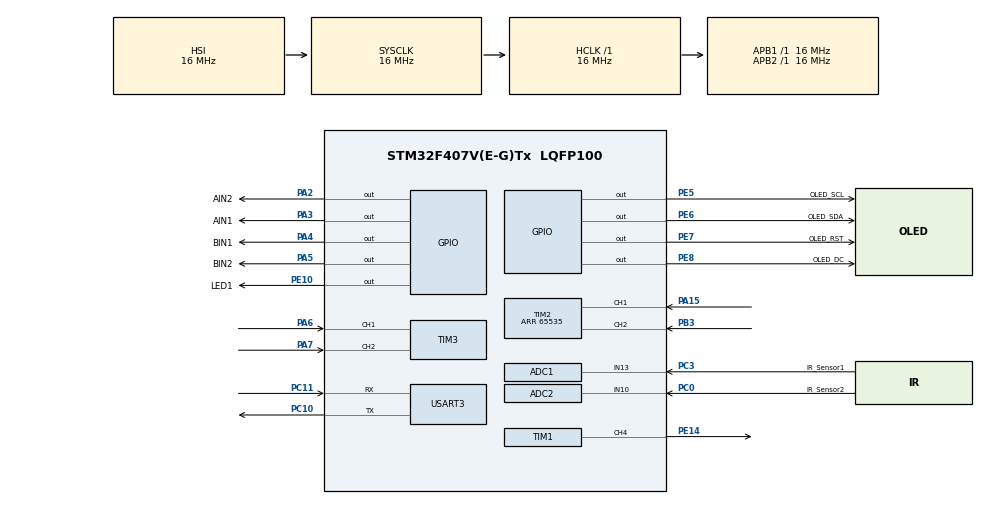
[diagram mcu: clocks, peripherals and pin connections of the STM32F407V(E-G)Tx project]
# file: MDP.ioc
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ADC1.Channel-0\#ChannelRegularConversion=ADC_CHANNEL_13
ADC1.NbrOfConversionFlag=1
ADC1.Rank-0\#ChannelRegularConversion=1
ADC1.SamplingTime-0\#ChannelRegularConversion=ADC_SAMPLETIME_480CYCLES
ADC1.master=1
ADC2.Channel-0\#ChannelRegularConversion=ADC_CHANNEL_10
ADC2.NbrOfConversionFlag=1
ADC2.Rank-0\#ChannelRegularConversion=1
ADC2.SamplingTime-0\#ChannelRegularConversion=ADC_SAMPLETIME_3CYCLES
FREERTOS.Tasks01=defaultTask,24,128,StartDefaultTask,Default,NULL,Dynamic,NULL,NULL;Motor,9,128,motor,Default,NULL,Dynamic,NULL,NULL;showTask,8,128,showtask,Default,NULL,Dynamic,NULL,NULL;encoder,9,128,encoder_1,Default,NULL,Dynamic,NULL,NULL;IR_sensor,24,128,ir_sensor,Default,NULL,Dynamic,NULL,NULL
Mcu.Family=STM32F4
Mcu.Name=STM32F407V(E-G)Tx
Mcu.Package=LQFP100
NVIC.PriorityGroup=NVIC_PRIORITYGROUP_4
NVIC.USART3_IRQn=true\:5\:0\:false\:false\:true\:true\:true\:true
PA15.Signal=S_TIM2_CH1_ETR
PA2.GPIO_Label=AIN2
PA2.Signal=GPIO_Output
PA3.GPIO_Label=AIN1
PA3.Signal=GPIO_Output
PA4.GPIO_Label=BIN1
PA4.Signal=GPIO_Output
PA5.GPIO_Label=BIN2
PA5.Signal=GPIO_Output
PA6.Signal=S_TIM3_CH1
PA7.Signal=S_TIM3_CH2
PB3.Signal=S_TIM2_CH2
PC0.GPIO_Label=IR_Sensor2
PC0.Signal=ADCx_IN10
PC10.Mode=Asynchronous
PC10.Signal=USART3_TX
PC11.Mode=Asynchronous
PC11.Signal=USART3_RX
PC3.GPIO_Label=IR_Sensor1
PC3.Signal=ADCx_IN13
PC6.Signal=S_TIM8_CH1
PC7.Signal=S_TIM8_CH2
PE10.GPIO_Label=LED1
PE10.Signal=GPIO_Output
PE14.Signal=S_TIM1_CH4
PE5.GPIO_Label=OLED_SCL
PE5.Signal=GPIO_Output
PE6.GPIO_Label=OLED_SDA
PE6.Signal=GPIO_Output
PE7.GPIO_Label=OLED_RST
PE7.Signal=GPIO_Output
PE8.GPIO_Label=OLED_DC
PE8.Signal=GPIO_Output
ProjectManager.HeapSize=0x200
ProjectManager.StackSize=0x400
ProjectManager.TargetToolchain=STM32CubeIDE
RCC.AHBFreq_Value=16000000
RCC.APB1Freq_Value=16000000
RCC.APB2Freq_Value=16000000
RCC.CortexFreq_Value=16000000
RCC.HSE_VALUE=25000000
RCC.HSI_VALUE=16000000
RCC.LSE_VALUE=32768
RCC.SYSCLKFreq_VALUE=16000000
RCC.VCOOutputFreq_Value=192000000
SH.ADCx_IN10.0=ADC2_IN10,IN10
SH.ADCx_IN13.0=ADC1_IN13,IN13
SH.S_TIM1_CH4.0=TIM1_CH4,PWM Generation4 CH4
SH.S_TIM2_CH1_ETR.0=TIM2_CH1,Encoder_Interface
SH.S_TIM2_CH2.0=TIM2_CH2,Encoder_Interface
SH.S_TIM3_CH1.0=TIM3_CH1,Encoder_Interface
SH.S_TIM3_CH2.0=TIM3_CH2,Encoder_Interface
SH.S_TIM8_CH1.0=TIM8_CH1
SH.S_TIM8_CH2.0=TIM8_CH2
TIM1.AutoReloadPreload=TIM_AUTORELOAD_PRELOAD_ENABLE
TIM1.Channel-PWM\ Generation4\ CH4=TIM_CHANNEL_4
TIM1.Period=1000
TIM1.Prescaler=320
TIM2.EncoderMode=TIM_ENCODERMODE_TI12
TIM2.IC1Filter=10
TIM2.Period=65535
TIM3.EncoderMode=TIM_ENCODERMODE_TI12
TIM8.Channel-PWM\ Generation1\ No\ Output=TIM_CHANNEL_1
TIM8.Channel-PWM\ Generation2\ No\ Output=TIM_CHANNEL_2
TIM8.Period=6000
USART3.VirtualMode=VM_ASYNC
VP_FREERTOS_VS_CMSIS_V2.Mode=CMSIS_V2
VP_TIM1_VS_ClockSourceINT.Mode=Internal
VP_TIM8_VS_ClockSourceINT.Mode=Internal
VP_TIM8_VS_no_output1.Mode=PWM Generation1 No Output
VP_TIM8_VS_no_output2.Mode=PWM Generation2 No Output
board=custom

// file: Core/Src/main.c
/* USER CODE BEGIN Header */
/**
  ******************************************************************************
  * @file           : main.c
  * @brief          : Main program body
  ******************************************************************************
  * @attention
  *
  * Copyright (c) 2022 STMicroelectronics.
  * All rights reserved.
  *
  * This software is licensed under terms that can be found in the LICENSE file
  * in the root directory of this software component.
  * If no LICENSE file comes with this software, it is provided AS-IS.
  *
  ******************************************************************************
  */
/* USER CODE END Header */
#include "main.h"
#include "cmsis_os.h"

/* USER CODE BEGIN Includes */
#include "math.h"
/* USER CODE END Includes */

ADC_HandleTypeDef hadc1;
ADC_HandleTypeDef hadc2;

TIM_HandleTypeDef htim1;
TIM_HandleTypeDef htim2;
TIM_HandleTypeDef htim3;
TIM_HandleTypeDef htim8;

UART_HandleTypeDef huart3;

/* Definitions for defaultTask */
osThreadId_t defaultTaskHandle;
const osThreadAttr_t defaultTask_attributes = {
  .name = "defaultTask",
  .stack_size = 128 * 4,
  .priority = (osPriority_t) osPriorityNormal,
};
/* Definitions for Motor */
osThreadId_t MotorHandle;
const osThreadAttr_t Motor_attributes = {
  .name = "Motor",
  .stack_size = 128 * 4,
  .priority = (osPriority_t) osPriorityLow,
};
/* Definitions for showTask */
osThreadId_t showTaskHandle;
const osThreadAttr_t showTask_attributes = {
  .name = "showTask",
  .stack_size = 128 * 4,
  .priority = (osPriority_t) osPriorityLow,
};
/* Definitions for encoder */
osThreadId_t encoderHandle;
const osThreadAttr_t encoder_attributes = {
  .name = "encoder",
  .stack_size = 128 * 4,
  .priority = (osPriority_t) osPriorityLow,
};
/* Definitions for IR_sensor */
osThreadId_t IR_sensorHandle;
const osThreadAttr_t IR_sensor_attributes = {
  .name = "IR_sensor",
  .stack_size = 128 * 4,
  .priority = (osPriority_t) osPriorityNormal,
};

void SystemClock_Config(void);
static void MX_GPIO_Init(void);
static void MX_TIM8_Init(void);
static void MX_TIM1_Init(void);
static void MX_TIM2_Init(void);
static void MX_TIM3_Init(void);
static void MX_ADC1_Init(void);
static void MX_USART3_UART_Init(void);
static void MX_ADC2_Init(void);
void StartDefaultTask(void *argument);
void motor(void *argument);
void showtask(void *argument);
void encoder_1(void *argument);
void ir_sensor(void *argument);

/* USER CODE BEGIN 0 */
uint8_t aRxBuffer[1];
int pwm = 0;
double max_rpm = 0;
double distance = 0; // later need to change to double
uint8_t completed = 1;
/* USER CODE END 0 */

int main(void)
{

  /* MCU Configuration--------------------------------------------------------*/

  /* Reset of all peripherals, Initializes the Flash interface and the Systick. */
  HAL_Init();

  /* Configure the system clock */
  SystemClock_Config();

  /* Initialize all configured peripherals */
  MX_GPIO_Init();
  MX_TIM8_Init();
  MX_TIM1_Init();
  MX_TIM2_Init();
  MX_TIM3_Init();
  MX_ADC1_Init();
  MX_USART3_UART_Init();
  MX_ADC2_Init();
  /* USER CODE BEGIN 2 */
  OLED_Init();
  // initialise the pins needed

  HAL_UART_Receive_IT(&huart3,(uint8_t *)aRxBuffer,1);

  /* USER CODE END 2 */

  /* Init scheduler */
  osKernelInitialize();

  /* Create the thread(s) */
  /* creation of defaultTask */
  defaultTaskHandle = osThreadNew(StartDefaultTask, NULL, &defaultTask_attributes);

  /* creation of Motor */
  MotorHandle = osThreadNew(motor, NULL, &Motor_attributes);

  /* creation of showTask */
  showTaskHandle = osThreadNew(showtask, NULL, &showTask_attributes);

  /* creation of encoder */
  encoderHandle = osThreadNew(encoder_1, NULL, &encoder_attributes);

  /* creation of IR_sensor */
  IR_sensorHandle = osThreadNew(ir_sensor, NULL, &IR_sensor_attributes);

  /* Start scheduler */
  osKernelStart();

  /* We should never get here as control is now taken by the scheduler */
  /* Infinite loop */
  while (1)
  {

  }
}

void SystemClock_Config(void)
{
  RCC_OscInitTypeDef RCC_OscInitStruct = {0};
  RCC_ClkInitTypeDef RCC_ClkInitStruct = {0};

  /** Configure the main internal regulator output voltage
  */
  __HAL_RCC_PWR_CLK_ENABLE();
  __HAL_PWR_VOLTAGESCALING_CONFIG(PWR_REGULATOR_VOLTAGE_SCALE1);
  /** Initializes the RCC Oscillators according to the specified parameters
  * in the RCC_OscInitTypeDef structure.
  */
  RCC_OscInitStruct.OscillatorType = RCC_OSCILLATORTYPE_HSI;
  RCC_OscInitStruct.HSIState = RCC_HSI_ON;
  RCC_OscInitStruct.HSICalibrationValue = RCC_HSICALIBRATION_DEFAULT;
  RCC_OscInitStruct.PLL.PLLState = RCC_PLL_NONE;
  if (HAL_RCC_OscConfig(&RCC_OscInitStruct) != HAL_OK)
  {
    Error_Handler();
  }
  /** Initializes the CPU, AHB and APB buses clocks
  */
  RCC_ClkInitStruct.ClockType = RCC_CLOCKTYPE_HCLK|RCC_CLOCKTYPE_SYSCLK
                              |RCC_CLOCKTYPE_PCLK1|RCC_CLOCKTYPE_PCLK2;
  RCC_ClkInitStruct.SYSCLKSource = RCC_SYSCLKSOURCE_HSI;
  RCC_ClkInitStruct.AHBCLKDivider = RCC_SYSCLK_DIV1;
  RCC_ClkInitStruct.APB1CLKDivider = RCC_HCLK_DIV1;
  RCC_ClkInitStruct.APB2CLKDivider = RCC_HCLK_DIV1;

  if (HAL_RCC_ClockConfig(&RCC_ClkInitStruct, FLASH_LATENCY_0) != HAL_OK)
  {
    Error_Handler();
  }
}

static void MX_ADC1_Init(void)
{

  ADC_ChannelConfTypeDef sConfig = {0};

  /** Configure the global features of the ADC (Clock, Resolution, Data Alignment and number of conversion)
  */
  hadc1.Instance = ADC1;
  hadc1.Init.ClockPrescaler = ADC_CLOCK_SYNC_PCLK_DIV2;
  hadc1.Init.Resolution = ADC_RESOLUTION_12B;
  hadc1.Init.ScanConvMode = DISABLE;
  hadc1.Init.ContinuousConvMode = DISABLE;
  hadc1.Init.DiscontinuousConvMode = DISABLE;
  hadc1.Init.ExternalTrigConvEdge = ADC_EXTERNALTRIGCONVEDGE_NONE;
  hadc1.Init.ExternalTrigConv = ADC_SOFTWARE_START;
  hadc1.Init.DataAlign = ADC_DATAALIGN_RIGHT;
  hadc1.Init.NbrOfConversion = 1;
  hadc1.Init.DMAContinuousRequests = DISABLE;
  hadc1.Init.EOCSelection = ADC_EOC_SINGLE_CONV;
  if (HAL_ADC_Init(&hadc1) != HAL_OK)
  {
    Error_Handler();
  }
  /** Configure for the selected ADC regular channel its corresponding rank in the sequencer and its sample time.
  */
  sConfig.Channel = ADC_CHANNEL_13;
  sConfig.Rank = 1;
  sConfig.SamplingTime = ADC_SAMPLETIME_480CYCLES;
  if (HAL_ADC_ConfigChannel(&hadc1, &sConfig) != HAL_OK)
  {
    Error_Handler();
  }

}

static void MX_ADC2_Init(void)
{

  ADC_ChannelConfTypeDef sConfig = {0};

  /** Configure the global features of the ADC (Clock, Resolution, Data Alignment and number of conversion)
  */
  hadc2.Instance = ADC2;
  hadc2.Init.ClockPrescaler = ADC_CLOCK_SYNC_PCLK_DIV2;
  hadc2.Init.Resolution = ADC_RESOLUTION_12B;
  hadc2.Init.ScanConvMode = DISABLE;
  hadc2.Init.ContinuousConvMode = DISABLE;
  hadc2.Init.DiscontinuousConvMode = DISABLE;
  hadc2.Init.ExternalTrigConvEdge = ADC_EXTERNALTRIGCONVEDGE_NONE;
  hadc2.Init.ExternalTrigConv = ADC_SOFTWARE_START;
  hadc2.Init.DataAlign = ADC_DATAALIGN_RIGHT;
  hadc2.Init.NbrOfConversion = 1;
  hadc2.Init.DMAContinuousRequests = DISABLE;
  hadc2.Init.EOCSelection = ADC_EOC_SINGLE_CONV;
  if (HAL_ADC_Init(&hadc2) != HAL_OK)
  {
    Error_Handler();
  }
  /** Configure for the selected ADC regular channel its corresponding rank in the sequencer and its sample time.
  */
  sConfig.Channel = ADC_CHANNEL_10;
  sConfig.Rank = 1;
  sConfig.SamplingTime = ADC_SAMPLETIME_3CYCLES;
  if (HAL_ADC_ConfigChannel(&hadc2, &sConfig) != HAL_OK)
  {
    Error_Handler();
  }

}

static void MX_TIM1_Init(void)
{

  TIM_ClockConfigTypeDef sClockSourceConfig = {0};
  TIM_MasterConfigTypeDef sMasterConfig = {0};
  TIM_OC_InitTypeDef sConfigOC = {0};
  TIM_BreakDeadTimeConfigTypeDef sBreakDeadTimeConfig = {0};

  htim1.Instance = TIM1;
  htim1.Init.Prescaler = 320;
  htim1.Init.CounterMode = TIM_COUNTERMODE_UP;
  htim1.Init.Period = 1000;
  htim1.Init.ClockDivision = TIM_CLOCKDIVISION_DIV1;
  htim1.Init.RepetitionCounter = 0;
  htim1.Init.AutoReloadPreload = TIM_AUTORELOAD_PRELOAD_ENABLE;
  if (HAL_TIM_Base_Init(&htim1) != HAL_OK)
  {
    Error_Handler();
  }
  sClockSourceConfig.ClockSource = TIM_CLOCKSOURCE_INTERNAL;
  if (HAL_TIM_ConfigClockSource(&htim1, &sClockSourceConfig) != HAL_OK)
  {
    Error_Handler();
  }
  if (HAL_TIM_PWM_Init(&htim1) != HAL_OK)
  {
    Error_Handler();
  }
  sMasterConfig.MasterOutputTrigger = TIM_TRGO_RESET;
  sMasterConfig.MasterSlaveMode = TIM_MASTERSLAVEMODE_DISABLE;
  if (HAL_TIMEx_MasterConfigSynchronization(&htim1, &sMasterConfig) != HAL_OK)
  {
    Error_Handler();
  }
  sConfigOC.OCMode = TIM_OCMODE_PWM1;
  sConfigOC.Pulse = 0;
  sConfigOC.OCPolarity = TIM_OCPOLARITY_HIGH;
  sConfigOC.OCFastMode = TIM_OCFAST_DISABLE;
  sConfigOC.OCIdleState = TIM_OCIDLESTATE_RESET;
  sConfigOC.OCNIdleState = TIM_OCNIDLESTATE_RESET;
  if (HAL_TIM_PWM_ConfigChannel(&htim1, &sConfigOC, TIM_CHANNEL_4) != HAL_OK)
  {
    Error_Handler();
  }
  sBreakDeadTimeConfig.OffStateRunMode = TIM_OSSR_DISABLE;
  sBreakDeadTimeConfig.OffStateIDLEMode = TIM_OSSI_DISABLE;
  sBreakDeadTimeConfig.LockLevel = TIM_LOCKLEVEL_OFF;
  sBreakDeadTimeConfig.DeadTime = 0;
  sBreakDeadTimeConfig.BreakState = TIM_BREAK_DISABLE;
  sBreakDeadTimeConfig.BreakPolarity = TIM_BREAKPOLARITY_HIGH;
  sBreakDeadTimeConfig.AutomaticOutput = TIM_AUTOMATICOUTPUT_DISABLE;
  if (HAL_TIMEx_ConfigBreakDeadTime(&htim1, &sBreakDeadTimeConfig) != HAL_OK)
  {
    Error_Handler();
  }
  HAL_TIM_MspPostInit(&htim1);

}

static void MX_TIM2_Init(void)
{

  TIM_Encoder_InitTypeDef sConfig = {0};
  TIM_MasterConfigTypeDef sMasterConfig = {0};

  htim2.Instance = TIM2;
  htim2.Init.Prescaler = 0;
  htim2.Init.CounterMode = TIM_COUNTERMODE_UP;
  htim2.Init.Period = 65535;
  htim2.Init.ClockDivision = TIM_CLOCKDIVISION_DIV1;
  htim2.Init.AutoReloadPreload = TIM_AUTORELOAD_PRELOAD_DISABLE;
  sConfig.EncoderMode = TIM_ENCODERMODE_TI12;
  sConfig.IC1Polarity = TIM_ICPOLARITY_RISING;
  sConfig.IC1Selection = TIM_ICSELECTION_DIRECTTI;
  sConfig.IC1Prescaler = TIM_ICPSC_DIV1;
  sConfig.IC1Filter = 10;
  sConfig.IC2Polarity = TIM_ICPOLARITY_RISING;
  sConfig.IC2Selection = TIM_ICSELECTION_DIRECTTI;
  sConfig.IC2Prescaler = TIM_ICPSC_DIV1;
  sConfig.IC2Filter = 0;
  if (HAL_TIM_Encoder_Init(&htim2, &sConfig) != HAL_OK)
  {
    Error_Handler();
  }
  sMasterConfig.MasterOutputTrigger = TIM_TRGO_RESET;
  sMasterConfig.MasterSlaveMode = TIM_MASTERSLAVEMODE_DISABLE;
  if (HAL_TIMEx_MasterConfigSynchronization(&htim2, &sMasterConfig) != HAL_OK)
  {
    Error_Handler();
  }

}

static void MX_TIM3_Init(void)
{

  TIM_Encoder_InitTypeDef sConfig = {0};
  TIM_MasterConfigTypeDef sMasterConfig = {0};

  htim3.Instance = TIM3;
  htim3.Init.Prescaler = 0;
  htim3.Init.CounterMode = TIM_COUNTERMODE_UP;
  htim3.Init.Period = 65535;
  htim3.Init.ClockDivision = TIM_CLOCKDIVISION_DIV1;
  htim3.Init.AutoReloadPreload = TIM_AUTORELOAD_PRELOAD_DISABLE;
  sConfig.EncoderMode = TIM_ENCODERMODE_TI12;
  sConfig.IC1Polarity = TIM_ICPOLARITY_RISING;
  sConfig.IC1Selection = TIM_ICSELECTION_DIRECTTI;
  sConfig.IC1Prescaler = TIM_ICPSC_DIV1;
  sConfig.IC1Filter = 0;
  sConfig.IC2Polarity = TIM_ICPOLARITY_RISING;
  sConfig.IC2Selection = TIM_ICSELECTION_DIRECTTI;
  sConfig.IC2Prescaler = TIM_ICPSC_DIV1;
  sConfig.IC2Filter = 0;
  if (HAL_TIM_Encoder_Init(&htim3, &sConfig) != HAL_OK)
  {
    Error_Handler();
  }
  sMasterConfig.MasterOutputTrigger = TIM_TRGO_RESET;
  sMasterConfig.MasterSlaveMode = TIM_MASTERSLAVEMODE_DISABLE;
  if (HAL_TIMEx_MasterConfigSynchronization(&htim3, &sMasterConfig) != HAL_OK)
  {
    Error_Handler();
  }

}

static void MX_TIM8_Init(void)
{

  TIM_ClockConfigTypeDef sClockSourceConfig = {0};
  TIM_MasterConfigTypeDef sMasterConfig = {0};
  TIM_OC_InitTypeDef sConfigOC = {0};
  TIM_BreakDeadTimeConfigTypeDef sBreakDeadTimeConfig = {0};

  htim8.Instance = TIM8;
  htim8.Init.Prescaler = 0;
  htim8.Init.CounterMode = TIM_COUNTERMODE_UP;
  htim8.Init.Period = 6000;
  htim8.Init.ClockDivision = TIM_CLOCKDIVISION_DIV1;
  htim8.Init.RepetitionCounter = 0;
  htim8.Init.AutoReloadPreload = TIM_AUTORELOAD_PRELOAD_DISABLE;
  if (HAL_TIM_Base_Init(&htim8) != HAL_OK)
  {
    Error_Handler();
  }
  sClockSourceConfig.ClockSource = TIM_CLOCKSOURCE_INTERNAL;
  if (HAL_TIM_ConfigClockSource(&htim8, &sClockSourceConfig) != HAL_OK)
  {
    Error_Handler();
  }
  if (HAL_TIM_PWM_Init(&htim8) != HAL_OK)
  {
    Error_Handler();
  }
  sMasterConfig.MasterOutputTrigger = TIM_TRGO_RESET;
  sMasterConfig.MasterSlaveMode = TIM_MASTERSLAVEMODE_DISABLE;
  if (HAL_TIMEx_MasterConfigSynchronization(&htim8, &sMasterConfig) != HAL_OK)
  {
    Error_Handler();
  }
  sConfigOC.OCMode = TIM_OCMODE_PWM1;
  sConfigOC.Pulse = 0;
  sConfigOC.OCPolarity = TIM_OCPOLARITY_HIGH;
  sConfigOC.OCNPolarity = TIM_OCNPOLARITY_HIGH;
  sConfigOC.OCFastMode = TIM_OCFAST_DISABLE;
  sConfigOC.OCIdleState = TIM_OCIDLESTATE_RESET;
  sConfigOC.OCNIdleState = TIM_OCNIDLESTATE_RESET;
  if (HAL_TIM_PWM_ConfigChannel(&htim8, &sConfigOC, TIM_CHANNEL_1) != HAL_OK)
  {
    Error_Handler();
  }
  if (HAL_TIM_PWM_ConfigChannel(&htim8, &sConfigOC, TIM_CHANNEL_2) != HAL_OK)
  {
    Error_Handler();
  }
  sBreakDeadTimeConfig.OffStateRunMode = TIM_OSSR_DISABLE;
  sBreakDeadTimeConfig.OffStateIDLEMode = TIM_OSSI_DISABLE;
  sBreakDeadTimeConfig.LockLevel = TIM_LOCKLEVEL_OFF;
  sBreakDeadTimeConfig.DeadTime = 0;
  sBreakDeadTimeConfig.BreakState = TIM_BREAK_DISABLE;
  sBreakDeadTimeConfig.BreakPolarity = TIM_BREAKPOLARITY_HIGH;
  sBreakDeadTimeConfig.AutomaticOutput = TIM_AUTOMATICOUTPUT_DISABLE;
  if (HAL_TIMEx_ConfigBreakDeadTime(&htim8, &sBreakDeadTimeConfig) != HAL_OK)
  {
    Error_Handler();
  }

}

static void MX_USART3_UART_Init(void)
{

  huart3.Instance = USART3;
  huart3.Init.BaudRate = 115200;
  huart3.Init.WordLength = UART_WORDLENGTH_8B;
  huart3.Init.StopBits = UART_STOPBITS_1;
  huart3.Init.Parity = UART_PARITY_NONE;
  huart3.Init.Mode = UART_MODE_TX_RX;
  huart3.Init.HwFlowCtl = UART_HWCONTROL_NONE;
  huart3.Init.OverSampling = UART_OVERSAMPLING_16;
  if (HAL_UART_Init(&huart3) != HAL_OK)
  {
    Error_Handler();
  }

}

static void MX_GPIO_Init(void)
{
  GPIO_InitTypeDef GPIO_InitStruct = {0};

  /* GPIO Ports Clock Enable */
  __HAL_RCC_GPIOE_CLK_ENABLE();
  __HAL_RCC_GPIOC_CLK_ENABLE();
  __HAL_RCC_GPIOA_CLK_ENABLE();
  __HAL_RCC_GPIOB_CLK_ENABLE();

  /*Configure GPIO pin Output Level */
  HAL_GPIO_WritePin(GPIOE, OLED_SCL_Pin|OLED_SDA_Pin|OLED_RST_Pin|OLED_DC_Pin
                          |LED1_Pin, GPIO_PIN_RESET);

  /*Configure GPIO pin Output Level */
  HAL_GPIO_WritePin(GPIOA, AIN2_Pin|AIN1_Pin|BIN1_Pin|BIN2_Pin, GPIO_PIN_RESET);

  /*Configure GPIO pins : OLED_SCL_Pin OLED_SDA_Pin OLED_RST_Pin OLED_DC_Pin
                           LED1_Pin */
  GPIO_InitStruct.Pin = OLED_SCL_Pin|OLED_SDA_Pin|OLED_RST_Pin|OLED_DC_Pin
                          |LED1_Pin;
  GPIO_InitStruct.Mode = GPIO_MODE_OUTPUT_PP;
  GPIO_InitStruct.Pull = GPIO_NOPULL;
  GPIO_InitStruct.Speed = GPIO_SPEED_FREQ_LOW;
  HAL_GPIO_Init(GPIOE, &GPIO_InitStruct);

  /*Configure GPIO pins : AIN2_Pin AIN1_Pin BIN1_Pin BIN2_Pin */
  GPIO_InitStruct.Pin = AIN2_Pin|AIN1_Pin|BIN1_Pin|BIN2_Pin;
  GPIO_InitStruct.Mode = GPIO_MODE_OUTPUT_PP;
  GPIO_InitStruct.Pull = GPIO_NOPULL;
  GPIO_InitStruct.Speed = GPIO_SPEED_FREQ_LOW;
  HAL_GPIO_Init(GPIOA, &GPIO_InitStruct);

}

/* USER CODE BEGIN 4 */
void HAL_UART_RxCpltCallback(UART_HandleTypeDef *huart)
{
	osDelay(100);
	completed = 0;
	distance = 0;
	UNUSED(huart);
    HAL_UART_Transmit(&huart3, aRxBuffer, 1, 100);
	HAL_UART_Receive_IT(&huart3, aRxBuffer, 1);

}

void Calculate_PWM(uint8_t right,uint8_t left)
{
	// use the following formula to calculate the relevnat pwm needed for different distance and change the 8399 to the preloadregister of the counter
//    25% duty cycle:     pulse_length = ((8399 + 1) * 25) / 100 - 1 = 2099
//    50% duty cycle:     pulse_length = ((8399 + 1) * 50) / 100 - 1 = 4199
//    75% duty cycle:     pulse_length = ((8399 + 1) * 75) / 100 - 1 = 6299
//    100% duty cycle:    pulse_length = ((8399 + 1) * 100) / 100 - 1 = 8399
//	if(aRxBuffer[0]=='s')
//	{
//		// replace this with center
//		if( left>300)
//		{
//			pwm = 2800;
//		}
//		else if (  left>200)
//		{
//			pwm = 2500;
//		}
//		else if ( left>100)
//		{
//			pwm = 2000;
//		}
//		else
//		{
//			pwm = 0;
//		}
//	}
//	 if(aRxBuffer[0]=='r')
//	{
//		if(right>300)
//		{
//			pwm = 1800;
//		}
//		else if ( right>200)
//		{
//			pwm = 1500;
//		}
//		else if(right>150)
//		{
//			pwm = 1000;
//		}
//		else
//		{
//			pwm = 0;
//		}
//	}
//	else if(aRxBuffer[0]=="l")
//	{
//		if(left>300)
//		{
//			pwm = 1800;
//		}
//		else if(left>200)
//		{
//			pwm= 1500;
//		}
//		else if(left>150)
//		{
//			pwm = 1000;
//		}
//		else
//		{
//			pwm = 0;
//		}
//	}

	if(completed)
	{
		pwm = 0;
	}
	else
	{
		pwm = 2500;
	}

}

void CalculateDistance(double rpm)
{
	double local_distance ;

		local_distance = (rpm*2*M_PI*20) ; // minus 50 for longer distance ( more than 300 mm)
		if(!completed)
		{
			if(distance>=100)
			{
				completed =1;
			}
			else
			{
				distance = distance+local_distance;
			}

		}
}

void CalculateCurveDistance( double rpm)
{
	double local_distance ;

		local_distance = (rpm*2*M_PI*20) ; // minus 50 for longer distance ( more than 300 mm)
		if(!completed)
		{
			if(distance>=550) // u need 1100 for a 180 degree turn
			{
				completed =1;
			}
			else
			{
				distance = distance+local_distance;
			}

		}
}

/* USER CODE END 4 */

void StartDefaultTask(void *argument)
{
  /* USER CODE BEGIN 5 */
  /* Infinite loop */

  for(;;)
  {

		HAL_GPIO_TogglePin(LED1_GPIO_Port, LED1_Pin);
	    osDelay(2000);

  }
  /* USER CODE END 5 */
}

void motor(void *argument)
{
  /* USER CODE BEGIN motor */
  HAL_TIM_PWM_Start(&htim8, TIM_CHANNEL_1);
  HAL_TIM_PWM_Start(&htim8, TIM_CHANNEL_2);
  HAL_TIM_PWM_Start(&htim1,TIM_CHANNEL_4);

  // change the pwm signal based on the distance

  /* Infinite loop */
  // for max turning use 50 and 110 and for center use 74 instead
  // use 68 and 78 for slight

  for(;;)
  {
	// backward direction

	  // come up with the states
		  switch(aRxBuffer[0])
		  {
		  case 's':
		      htim1.Instance->CCR4 = 74;
		      HAL_GPIO_WritePin(GPIOA,AIN2_Pin,GPIO_PIN_RESET);
		      HAL_GPIO_WritePin(GPIOA,AIN1_Pin,GPIO_PIN_SET);
		      __HAL_TIM_SetCompare(&htim8,TIM_CHANNEL_1,pwm);

		      HAL_GPIO_WritePin(GPIOA,BIN2_Pin,GPIO_PIN_RESET);
		      HAL_GPIO_WritePin(GPIOA,BIN1_Pin,GPIO_PIN_SET);
		      __HAL_TIM_SetCompare(&htim8,TIM_CHANNEL_2,pwm);
		      osDelay(10);
		      CalculateDistance(max_rpm);
		      osDelay(10);
		      break;
		  case 'r':
		      htim1.Instance->CCR4 = 110;
		      HAL_GPIO_WritePin(GPIOA,AIN2_Pin,GPIO_PIN_RESET);
		      HAL_GPIO_WritePin(GPIOA,AIN1_Pin,GPIO_PIN_SET);
		      __HAL_TIM_SetCompare(&htim8,TIM_CHANNEL_1,pwm);

		      HAL_GPIO_WritePin(GPIOA,BIN2_Pin,GPIO_PIN_RESET);
		      HAL_GPIO_WritePin(GPIOA,BIN1_Pin,GPIO_PIN_SET);
		      __HAL_TIM_SetCompare(&htim8,TIM_CHANNEL_2,pwm);
		      osDelay(500);
		      CalculateDistance(max_rpm);
		      osDelay(10);
		      break;
		  case 'l':
		      htim1.Instance->CCR4 = 50;
		      HAL_GPIO_WritePin(GPIOA,AIN2_Pin,GPIO_PIN_RESET);
		      HAL_GPIO_WritePin(GPIOA,AIN1_Pin,GPIO_PIN_SET);
		      __HAL_TIM_SetCompare(&htim8,TIM_CHANNEL_1,pwm);

		      HAL_GPIO_WritePin(GPIOA,BIN2_Pin,GPIO_PIN_RESET);
		      HAL_GPIO_WritePin(GPIOA,BIN1_Pin,GPIO_PIN_SET);
		      __HAL_TIM_SetCompare(&htim8,TIM_CHANNEL_2,pwm);
		      osDelay(10);
		      CalculateCurveDistance(max_rpm);
		      osDelay(10);
		      break;
		  case 'b':
			  htim1.Instance->CCR4 = 74;
			  HAL_GPIO_WritePin(GPIOA,AIN2_Pin,GPIO_PIN_SET);
			  HAL_GPIO_WritePin(GPIOA,AIN1_Pin,GPIO_PIN_RESET);
			  __HAL_TIM_SetCompare(&htim8,TIM_CHANNEL_1,pwm);

			  HAL_GPIO_WritePin(GPIOA,BIN2_Pin,GPIO_PIN_SET);
			  HAL_GPIO_WritePin(GPIOA,BIN1_Pin,GPIO_PIN_RESET);
			  __HAL_TIM_SetCompare(&htim8,TIM_CHANNEL_2,pwm);
			  osDelay(500);
		      CalculateDistance(max_rpm);
		      osDelay(10);
			  break;

		  default:
		  __HAL_TIM_SetCompare(&htim8,TIM_CHANNEL_1,0);
		  __HAL_TIM_SetCompare(&htim8,TIM_CHANNEL_2,0);
		      break;
		  }

  }

  /* USER CODE END motor */
}

void showtask(void *argument)
{
  /* USER CODE BEGIN showtask */
	uint8_t hello[20] = "Hello World!\0";\
	uint8_t hello1[20];
	int local;
  /* Infinite loop */
  for(;;)
  {
//	  sprintf(hello,"Distance%d\0",distance);
//	  OLED_ShowNumber(10,10,distance,3,16);
//	  OLED_ShowString(10,10,hello);
	  local = (max_rpm*2*M_PI*33);
	  sprintf(hello1,"local:%d\0",  local);
	  OLED_ShowString(10, 20, hello1);
	  OLED_Refresh_Gram();
	  //osDelay(1000);
  }
  /* USER CODE END showtask */
}

void encoder_1(void *argument)
{
  /* USER CODE BEGIN encoder_1 */
  /* Infinite loop */
		HAL_TIM_Encoder_Start(&htim2,TIM_CHANNEL_ALL);
		HAL_TIM_Encoder_Start(&htim3,TIM_CHANNEL_ALL);
		int cnt1, cnt2,cnt3,cnt4, diff1,diff2;
		uint32_t tick;
		cnt1 = __HAL_TIM_GET_COUNTER(&htim2);
		cnt3 = __HAL_TIM_GET_COUNTER(&htim3);
		tick = HAL_GetTick();
		uint8_t hello1[20];
		uint8_t hello2[20];
		double rpm_1 = 0; // the rpm is in per second
		double rpm_2 = 0;
	  for(;;)
	  {
		  if(HAL_GetTick()-tick > 200L){
			  // so what we are doing here is that for every 1s the counter value is 411
			  // when the duty cycle of the motor is 2000
			  cnt2 = __HAL_TIM_GET_COUNTER(&htim2);
			  cnt4 = __HAL_TIM_GET_COUNTER(&htim3);
			  if(__HAL_TIM_IS_TIM_COUNTING_DOWN(&htim2)){
				  if(cnt2<cnt1)
				  {
					  diff1 = cnt1 - cnt2;
					  rpm_1 = ((diff1*5.0f)/(2.0f*330.0f*60.0f)) ;
				  }
				  else
				  {
					  diff1 = (65535 - cnt2)+cnt1;
					  rpm_1 = ((diff1*5.0f)/(2.0f*330.0f*60.0f)) ;
				  }

			  }
			  else {
			  				  if(cnt2>cnt1)
			  				  {
			  					  diff1 = cnt2 - cnt1;
			  					rpm_1 = ((diff1*5.0f)/(2.0f*330.0f*60.0f)) ;
			  				  }

			  				  else
			  				  {
			  					  diff1 = (65535 - cnt1) + cnt2;
			  					rpm_1 = ((diff1*5.0f)/(2.0f*330.0f*60.0f)) ;
			  				  }
			  			  }

			  if(__HAL_TIM_IS_TIM_COUNTING_DOWN(&htim3))
			  {
				  if(cnt4<cnt3)
				  {
					  diff2 = cnt3 - cnt4;
					  rpm_2 = ((diff2*5.0f)/(2.0f*330.0f*60.0f)) ;
				  }
				  else
				  {
					  diff2 = (65535 - cnt4)+cnt3;
					  rpm_2 = ((diff2*5.0f)/(2.0f*330.0f*60.0f)) ;
				  }
			  }

			  else
			  {
				  if(cnt4>cnt3)
				  {
					  diff2 = cnt4 - cnt3;
					  rpm_2 = ((diff2*5.0f)/(2.0f*330.0f*60.0f)) ;
				  }

				  else
				  {
					  diff2 = (65535 - cnt2) + cnt4;
					  rpm_2 = ((diff2*5.0f)/(2.0f*330.0f*60.0f)) ;

				  }
			  }

				  if(rpm_1>rpm_2)
				  {
					  max_rpm = rpm_1;
				  }
				  else
				  {
					  max_rpm = rpm_2;
				  }
				  if(max_rpm>6)
				  {
					  max_rpm = 0;
				  }

			  sprintf(hello1,"encoder:%d\0",  diff1);
			  OLED_ShowString(10, 30, hello1);

//			  average_rpm_1 = average_rpm_1 + rpm_1;
//			  average_rpm_2 = average_rpm_2 + rpm_2;
//			  if(count==2)
//			  {
				  // the difference in tick is the period -> get the number of ticks passed ( in millisecond)
				  // then we have the tick frequency
//				  average_rpm_1 = average_rpm_1/ count ;
//				  average_rpm_2 = average_rpm_2/ count ;
//				  if(average_rpm_1<6.0f && average_rpm_2< 6.0f)
//				  {
//					  if(average_rpm_1>average_rpm_2)
//					  {
//						  max_rpm = average_rpm_1;
//					  }
//					  else
//					  {
//						  max_rpm = average_rpm_2;
//					  }
//				  }
//				  else
//				  {
//					  max_rpm = 0;
//				  }
//
//				  local = (max_rpm*2*M_PI*33);
//				  sprintf(hello1,"local:%d\0",  local);
//				  OLED_ShowString(10, 20, hello1);
////				  sprintf(hello2,"Speed2:%5d\0", max_rpm);
////				  OLED_ShowString(10, 30, hello2);
//				  count = 0;
//				  average_rpm_1 = 0;
//				  average_rpm_2 = 0;
//			  }

			 // dir = __HAL_TIM_IS_TIM_COUNTING_DOWN(&htim2);
			  //sprintf(hello,"Dir1:%5d\0", dir);
			 // OLED_ShowString(10, 30, hello);

			  cnt1 = __HAL_TIM_GET_COUNTER(&htim2);
			  cnt3 = __HAL_TIM_GET_COUNTER(&htim3);
			  tick = HAL_GetTick();
		  }
	    //osDelay(1);
	  }
  /* USER CODE END encoder_1 */
}

void ir_sensor(void *argument)
{
  /* USER CODE BEGIN ir_sensor */
  /* Infinite loop */

	uint32_t right_adc;
	uint32_t left_adc;
	double right_sensor;
	double left_sensor;
	uint32_t right_sensor_int;
	uint32_t left_sensor_int;
	uint32_t LPF_SUM_right = 0;
	uint32_t LPF_SUM_left = 0;
	uint32_t counter = 0;
	char buffer[100];
// hadc2 is the left sensor and hadc 1 is the right sensor
  for(;;)
  {
		HAL_ADC_Start(&hadc2);
		HAL_ADC_Start(&hadc1);
		HAL_ADC_PollForConversion(&hadc2, HAL_MAX_DELAY);
		HAL_ADC_PollForConversion(&hadc1,HAL_MAX_DELAY);
		left_adc = HAL_ADC_GetValue(&hadc2);
		right_adc = HAL_ADC_GetValue(&hadc1);

		LPF_SUM_right = LPF_SUM_right+right_adc;
		LPF_SUM_left = LPF_SUM_left+left_adc;
		counter++;
		if(counter>=100)
		{
			right_sensor = LPF_SUM_right/counter;
			left_sensor = LPF_SUM_left/counter;
			// come up with the equation to convert the sensor reading to distance
			right_sensor_int = (0.0000313111 *pow(right_sensor,2))-(0.230545* right_sensor)+493.974;
			left_sensor_int = (0.0000313111 *pow(left_sensor,2))-(0.230545* left_sensor)+493.974;
			Calculate_PWM(right_sensor_int,left_sensor_int);
			//sprintf(buffer, "right%dmm, left%dmm, completed=%d\r\n", right_sensor_int, left_sensor_int,completed);
			sprintf(buffer, "pwm%dmm, left%dmm, completed=%d\r\n", right_sensor_int, left_sensor_int,completed);
			HAL_UART_Transmit(&huart3,(uint32_t *) &buffer,strlen(buffer),0xFFFF);

			LPF_SUM_right = 0;
			LPF_SUM_left = 0;
			counter = 0;
		}
		osDelay(1);
  }
  /* USER CODE END ir_sensor */
}

void Error_Handler(void)
{
  /* USER CODE BEGIN Error_Handler_Debug */
  /* User can add his own implementation to report the HAL error return state */
  __disable_irq();
  uint8_t hello[20] = "error!\0";
  while (1)
  {
	  OLED_ShowString(40,10,hello);
  }
  /* USER CODE END Error_Handler_Debug */
}
